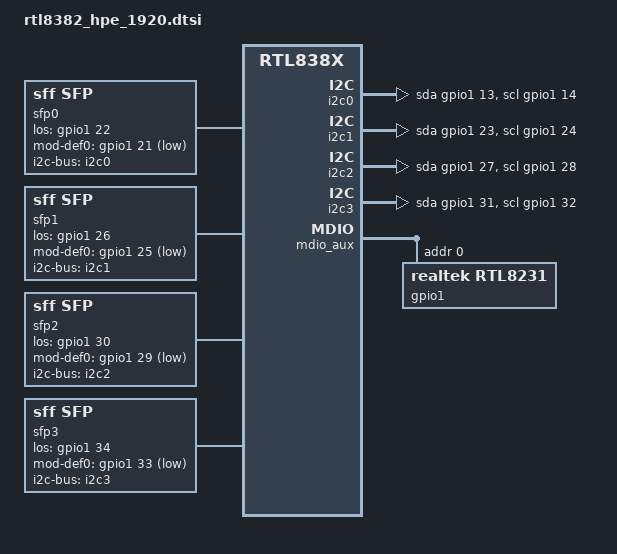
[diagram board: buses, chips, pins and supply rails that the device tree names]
// SPDX-License-Identifier: GPL-2.0-or-later OR MIT

#include "rtl838x.dtsi"
#include "rtl83xx_hpe_1920.dtsi"

/ {

	i2c0: i2c-gpio-0 {
		compatible = "i2c-gpio";
		sda-gpios = <&gpio1 13 (GPIO_ACTIVE_HIGH | GPIO_OPEN_DRAIN)>;
		scl-gpios = <&gpio1 14 (GPIO_ACTIVE_HIGH | GPIO_OPEN_DRAIN)>;
		i2c-gpio,delay-us = <2>;
		#address-cells = <1>;
		#size-cells = <0>;
	};

	sfp0: sfp-0 {
		compatible = "sff,sfp";
		i2c-bus = <&i2c0>;
		los-gpio = <&gpio1 22 GPIO_ACTIVE_HIGH>;
		mod-def0-gpio = <&gpio1 21 GPIO_ACTIVE_LOW>;
		// tx-fault unconnected
		// tx-disable connected to RTL8214FC
	};

	i2c1: i2c-gpio-1 {
		compatible = "i2c-gpio";
		sda-gpios = <&gpio1 23 (GPIO_ACTIVE_HIGH | GPIO_OPEN_DRAIN)>;
		scl-gpios = <&gpio1 24 (GPIO_ACTIVE_HIGH | GPIO_OPEN_DRAIN)>;
		i2c-gpio,delay-us = <2>;
		#address-cells = <1>;
		#size-cells = <0>;
	};

	sfp1: sfp-1 {
		compatible = "sff,sfp";
		i2c-bus = <&i2c1>;
		los-gpio = <&gpio1 26 GPIO_ACTIVE_HIGH>;
		mod-def0-gpio = <&gpio1 25 GPIO_ACTIVE_LOW>;
		// tx-fault unconnected
		// tx-disable connected to RTL8214FC
	};

	i2c2: i2c-gpio-2 {
		compatible = "i2c-gpio";
		sda-gpios = <&gpio1 27 (GPIO_ACTIVE_HIGH | GPIO_OPEN_DRAIN)>;
		scl-gpios = <&gpio1 28 (GPIO_ACTIVE_HIGH | GPIO_OPEN_DRAIN)>;
		i2c-gpio,delay-us = <2>;
		#address-cells = <1>;
		#size-cells = <0>;
	};

	sfp2: sfp-2 {
		compatible = "sff,sfp";
		i2c-bus = <&i2c2>;
		los-gpio = <&gpio1 30 GPIO_ACTIVE_HIGH>;
		mod-def0-gpio = <&gpio1 29 GPIO_ACTIVE_LOW>;
		// tx-fault unconnected
		// tx-disable connected to RTL8214FC
	};

	i2c3: i2c-gpio-3 {
		compatible = "i2c-gpio";
		sda-gpios = <&gpio1 31 (GPIO_ACTIVE_HIGH | GPIO_OPEN_DRAIN)>;
		scl-gpios = <&gpio1 32 (GPIO_ACTIVE_HIGH | GPIO_OPEN_DRAIN)>;
		i2c-gpio,delay-us = <2>;
		#address-cells = <1>;
		#size-cells = <0>;
	};

	sfp3: sfp-3 {
		compatible = "sff,sfp";
		i2c-bus = <&i2c3>;
		los-gpio = <&gpio1 34 GPIO_ACTIVE_HIGH>;
		mod-def0-gpio = <&gpio1 33 GPIO_ACTIVE_LOW>;
		// tx-fault unconnected
		// tx-disable connected to RTL8214FC
	};
};

&mdio_aux {
	status = "okay";

	gpio1: expander@0 {
		compatible = "realtek,rtl8231";
		reg = <0>;

		gpio-controller;
		#gpio-cells = <2>;
		gpio-ranges = <&gpio1 0 0 37>;

		led-controller {
			compatible = "realtek,rtl8231-leds";
			status = "disabled";
		};
	};
};

&mdio_bus0 {
	PHY_C22(8, 8)
	PHY_C22(9, 9)
	PHY_C22(10, 10)
	PHY_C22(11, 11)
	PHY_C22(12, 12)
	PHY_C22(13, 13)
	PHY_C22(14, 14)
	PHY_C22(15, 15)

	PHY_C22(16, 16)
	PHY_C22(17, 17)
	PHY_C22(18, 18)
	PHY_C22(19, 19)
	PHY_C22(20, 20)
	PHY_C22(21, 21)
	PHY_C22(22, 22)
	PHY_C22(23, 23)

	PHY_C22_SFP(24, 24, 0)
	PHY_C22_SFP(25, 25, 1)
	PHY_C22_SFP(26, 26, 2)
	PHY_C22_SFP(27, 27, 3)
};
